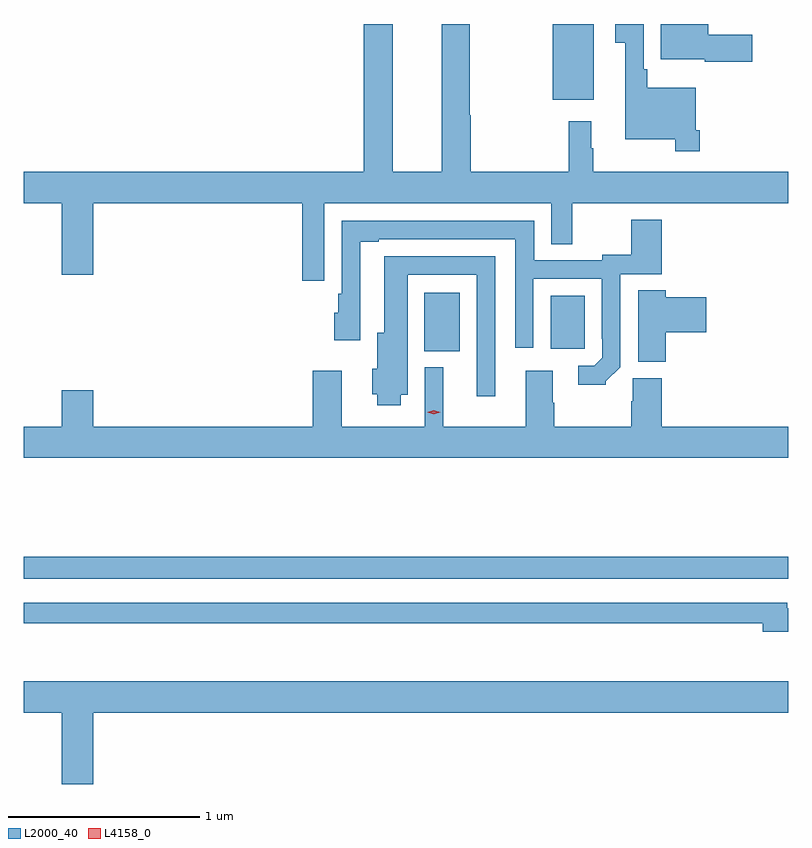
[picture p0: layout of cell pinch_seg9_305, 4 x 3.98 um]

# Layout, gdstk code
import gdstk
lib = gdstk.Library(unit=1e-6, precision=1e-09)
def R(c, l, rs):  # rectangles x0, y0, x1, y1
    for r in rs: c.add(gdstk.rectangle(r[:2], r[2:], *l))
def P(c, l, *ps):  # polygons
    for p in ps: c.add(gdstk.Polygon(p, *l))
L2000_40 = (2000, 40)
L4158_0 = (4158, 0)

pinch_seg9_305 = lib.new_cell('pinch_seg9_305')
R(pinch_seg9_305, L2000_40, [(608.364,1173.144,612.364,1173.26), (610.46,1174.334,610.645,1174.639), (611.12,1174.347,611.299,1174.624), (611.132,1175.651,611.347,1176.046)])
P(pinch_seg9_305, L2000_40, [(612.175,1175.991),(611.945,1175.991),(611.945,1176.046),(611.696,1176.046),(611.696,1175.861),(611.928,1175.861),(611.928,1175.849),(612.175,1175.849)],
  [(611.9,1175.491),(611.88,1175.491),(611.88,1175.713),(611.627,1175.713),(611.627,1175.809),(611.608,1175.809),(611.608,1176.046),(611.459,1176.046),(611.459,1175.948),(611.51,1175.948),(611.51,1175.444),(611.772,1175.444),(611.772,1175.379),(611.9,1175.379)],
  [(611.332,1175.396),(611.332,1175.536),(611.215,1175.536),(611.215,1175.272),(610.703,1175.272),(610.703,1175.568),(610.698,1175.568),(610.698,1176.046),(610.55,1176.046),(610.55,1175.272),(610.294,1175.272),(610.294,1176.046),(610.142,1176.046),(610.142,1175.272),(608.364,1175.272),(608.364,1175.108),(608.564,1175.108),(608.564,1174.734),(608.728,1174.734),(608.728,1175.108),(609.82,1175.108),(609.82,1174.704),(609.936,1174.704),(609.936,1175.108),(611.124,1175.108),(611.124,1174.894),(611.233,1174.894),(611.233,1175.108),(612.364,1175.108),(612.364,1175.272),(611.344,1175.272),(611.344,1175.396)],
  [(611.409,1174.176),(611.484,1174.251),(611.484,1174.737),(611.702,1174.737),(611.702,1175.023),(611.542,1175.023),(611.542,1174.838),(611.391,1174.838),(611.391,1174.809),(611.035,1174.809),(611.035,1175.016),(610.029,1175.016),(610.029,1174.636),(610.009,1174.636),(610.009,1174.536),(609.989,1174.536),(609.989,1174.392),(610.125,1174.392),(610.125,1174.908),(610.222,1174.908),(610.222,1174.92),(610.935,1174.92),(610.935,1174.353),(611.031,1174.353),(611.031,1174.713),(611.388,1174.713),(611.388,1174.399),(611.391,1174.399),(611.391,1174.299),(611.349,1174.257),(611.265,1174.257),(611.265,1174.159),(611.409,1174.159)],
  [(610.336,1174.106),(610.372,1174.106),(610.372,1174.734),(610.734,1174.734),(610.734,1174.098),(610.83,1174.098),(610.83,1174.83),(610.25,1174.83),(610.25,1174.432),(610.214,1174.432),(610.214,1174.242),(610.187,1174.242),(610.187,1174.11),(610.214,1174.11),(610.214,1174.052),(610.336,1174.052)],
  [(611.723,1174.433),(611.935,1174.433),(611.935,1174.616),(611.723,1174.616),(611.723,1174.652),(611.579,1174.652),(611.579,1174.279),(611.723,1174.279)],
  [(612.364,1173.94),(611.702,1173.94),(611.702,1174.194),(611.55,1174.194),(611.55,1174.073),(611.542,1174.073),(611.542,1173.94),(611.139,1173.94),(611.139,1174.064),(611.131,1174.064),(611.131,1174.231),(610.991,1174.231),(610.991,1173.94),(610.558,1173.94),(610.558,1174.249),(610.461,1174.249),(610.461,1173.94),(610.027,1173.94),(610.027,1174.231),(609.875,1174.231),(609.875,1173.94),(608.728,1173.94),(608.728,1174.129),(608.564,1174.129),(608.564,1173.94),(608.364,1173.94),(608.364,1173.776),(612.364,1173.776)],
  [(612.364,1172.989),(612.358,1172.989),(612.358,1173.018),(608.364,1173.018),(608.364,1172.91),(612.23,1172.91),(612.23,1172.867),(612.364,1172.867)],
  [(608.728,1172.444),(612.364,1172.444),(612.364,1172.608),(608.364,1172.608),(608.364,1172.444),(608.564,1172.444),(608.564,1172.07),(608.728,1172.07)])
P(pinch_seg9_305, L4158_0, [(610.509,1174.004),(610.474,1174.014),(610.474,1174.014),(610.474,1174.014),(610.509,1174.024),(610.544,1174.015),(610.544,1174.015),(610.544,1174.015)])

lib.write_gds('pinch_seg9_305.gds')
